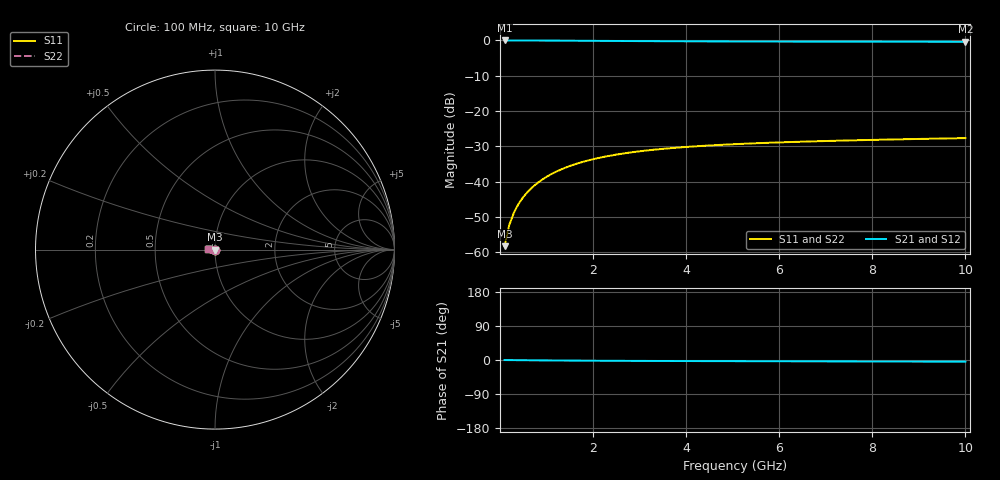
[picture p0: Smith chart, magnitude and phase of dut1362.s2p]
! Touchstone file exported from HFSS 2024.1.0
!  File:  C:/UserFiles/LocalFiles/RDL_TSV_Batchsim/temp_TSV1_1362_1780378165.aedt
!  Generated:  01:35:46 PM Jun  2, 2026
!  Design:  TSV1
!  Project:  temp_TSV1_1362_1780378165
!  Setup:  Setup1
!  Solution:  Sweep
! Variables:
!  dtsv = 12.78um
!  hbump = 3um
!  htsv = 65.43um
!  lrdl = 252.1521522um
!  p = 40
!  p1 = 59.55um
!  t = 500um
!  trdl = 3um
!  wrdl = 24.89489489um
# GHz S MA R 50.000000
! Terminal data exported
! Port[1] = TSV22_T1
! Port[2] = TSV22_T2
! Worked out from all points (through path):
!   100 points, 100 MHz to 10 GHz, reference 50 ohm
!   highest |S21| = 0.00 dB at 100 MHz (marker M1); lowest = -0.4 dB at 10 GHz (marker M2)
!   lowest |S11| = -58.3 dB at 100 MHz (marker M3), VSWR 1.00, Z = 50 - j0.121 ohm
!   |S11| at or under -10 dB: start of sweep to end of sweep
!   |S22| runs from -58.3 to -27.7 dB; largest |S21 - S12| = 6.3e-15
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0.1  0.001214 -88.3  0.9999 -0.1  0.9999 -0.1  0.001214 -88.3
! Gamma 0 0 0 0
! Port Impedance 50 0 50 0
0.2  0.002423 -92.1  0.9997 -0.2  0.9997 -0.2  0.002423 -92.1
0.3  0.003631 -94.6  0.9995 -0.4  0.9995 -0.4  0.003631 -94.6
0.4  0.004831 -96.9  0.9992 -0.5  0.9992 -0.5  0.004831 -96.9
0.5  0.00602 -99.1  0.9988 -0.6  0.9988 -0.6  0.00602 -99.1
0.6  0.007193 -101.3  0.9983 -0.7  0.9983 -0.7  0.007193 -101.3
0.7  0.008345 -103.4  0.9978 -0.8  0.9978 -0.8  0.008345 -103.4
0.8  0.009475 -105.4  0.9972 -0.9  0.9972 -0.9  0.009475 -105.4
0.9  0.01058 -107.4  0.9966 -1.0  0.9966 -1.0  0.01058 -107.4
1.1  0.0127 -111.2  0.9951 -1.2  0.9951 -1.2  0.0127 -111.2
1.4  0.01566 -116.7  0.9927 -1.5  0.9927 -1.5  0.01566 -116.7
1.6  0.01748 -120.2  0.991 -1.6  0.991 -1.6  0.01748 -120.2
1.8  0.01916 -123.5  0.9892 -1.8  0.9892 -1.8  0.01916 -123.5
2.1  0.02145 -128.1  0.9866 -2.0  0.9866 -2.0  0.02145 -128.1
2.5  0.0241 -133.7  0.9832 -2.2  0.9832 -2.2  0.0241 -133.7
2.9  0.02634 -138.8  0.98 -2.4  0.98 -2.4  0.02634 -138.8
3.4  0.02866 -144.4  0.9765 -2.6  0.9765 -2.6  0.02866 -144.4
4.2  0.03157 -152.2  0.9718 -2.8  0.9718 -2.8  0.03157 -152.2
5.1  0.034 -159.4  0.9678 -3.1  0.9678 -3.1  0.034 -159.4
6.7  0.03708 -169.8  0.9628 -3.5  0.9628 -3.5  0.03708 -169.8
8.4  0.03945 -178.6  0.9594 -4.0  0.9594 -4.0  0.03945 -178.6
10  0.0413 174.5  0.9573 -4.4  0.9573 -4.4  0.0413 174.5
